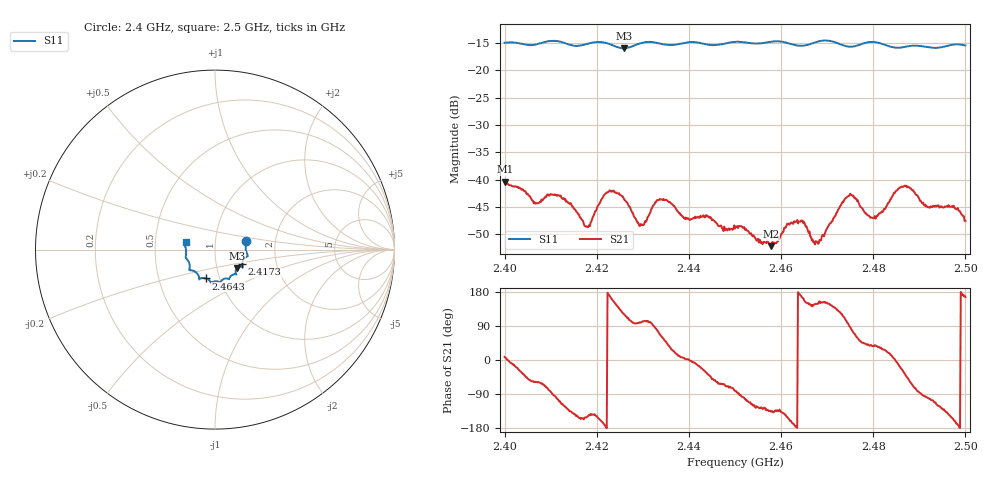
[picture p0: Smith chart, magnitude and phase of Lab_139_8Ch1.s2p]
# Hz S RI R 50
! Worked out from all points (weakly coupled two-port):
!   601 points, 2.4 GHz to 2.5 GHz, reference 50 ohm
!   highest |S21| = -40.42 dB at 2.4002 GHz (marker M1); lowest = -52.2 dB at 2.4578 GHz (marker M2)
!   lowest |S11| = -15.9 dB at 2.4258 GHz (marker M3), VSWR 1.38, Z = 62.3 - j13.2 ohm
!   |S11| at or under -10 dB: start of sweep to end of sweep
!   S12 and S22 are empty: the file has one direction only
!   S11 on the Smith chart (normalised r, x): 2.4 GHz: 1.41, +0.14; 2.4173 GHz: 1.34, -0.23; 2.4643 GHz: 0.86, -0.28; 2.5 GHz: 0.72, +0.06
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2.4e9  0.1727 0.0489  0.00934 0.00133  0 0  0 0
2.400167e9  0.1733 0.0483  0.00947 0.00107  0 0  0 0
2.406833e9  0.1731 -0.00833  0.00319 -0.00521  0 0  0 0
2.411833e9  0.1808 -0.0373  -0.00233 -0.00675  0 0  0 0
2.416667e9  0.1527 -0.0744  -0.00387 -0.00192  0 0  0 0
2.417333e9  0.152 -0.0818  -0.00333 -0.00177  0 0  0 0
2.422333e9  0.1498 -0.0947  -0.00759 0.000387  0 0  0 0
2.425833e9  0.1216 -0.1035  -0.00353 0.00571  0 0  0 0
2.429667e9  0.1167 -0.1349  -0.000624 0.00378  0 0  0 0
2.433333e9  0.1132 -0.1374  0.0017 0.00622  0 0  0 0
2.45e9  0.029 -0.1808  0.000531 -0.00351  0 0  0 0
2.457833e9  -0.0185 -0.1826  -0.00177 -0.0017  0 0  0 0
2.464333e9  -0.05 -0.1607  -0.00413 0.000796  0 0  0 0
2.466667e9  -0.0758 -0.1593  -0.00227 0.00159  0 0  0 0
2.468333e9  -0.0863 -0.1645  -0.00253 0.00119  0 0  0 0
2.474833e9  -0.1046 -0.1279  9.36e-05 0.00713  0 0  0 0
2.479667e9  -0.143 -0.114  0.00355 0.00272  0 0  0 0
2.483333e9  -0.141 -0.09  0.00584 0.00196  0 0  0 0
2.487167e9  -0.1563 -0.0547  0.00643 -0.00598  0 0  0 0
2.4915e9  -0.1616 -0.0302  -0.000813 -0.00561  0 0  0 0
2.497167e9  -0.1698 0.0275  -0.00512 -0.00253  0 0  0 0
2.5e9  -0.1641 0.0427  -0.00405 0.00102  0 0  0 0
